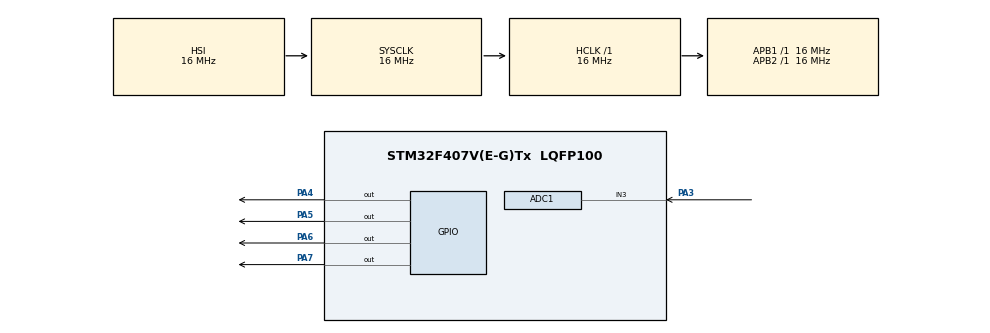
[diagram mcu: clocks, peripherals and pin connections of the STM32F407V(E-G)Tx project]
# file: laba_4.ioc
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ADC1.Channel-0\#ChannelRegularConversion=ADC_CHANNEL_3
ADC1.ClockPrescaler=ADC_CLOCK_SYNC_PCLK_DIV8
ADC1.NbrOfConversionFlag=1
ADC1.SamplingTime-0\#ChannelRegularConversion=ADC_SAMPLETIME_480CYCLES
ADC1.master=1
Mcu.Family=STM32F4
Mcu.Name=STM32F407V(E-G)Tx
Mcu.Package=LQFP100
NVIC.ADC_IRQn=true\:0\:0\:false\:false\:true\:true\:true\:true
NVIC.PriorityGroup=NVIC_PRIORITYGROUP_4
PA3.Signal=ADCx_IN3
PA4.Signal=GPIO_Output
PA5.Signal=GPIO_Output
PA6.Signal=GPIO_Output
PA7.Signal=GPIO_Output
ProjectManager.HeapSize=0x200
ProjectManager.StackSize=0x400
ProjectManager.TargetToolchain=STM32CubeIDE
RCC.AHBFreq_Value=16000000
RCC.APB1Freq_Value=16000000
RCC.APB2Freq_Value=16000000
RCC.CortexFreq_Value=16000000
RCC.HSE_VALUE=25000000
RCC.HSI_VALUE=16000000
RCC.LSE_VALUE=32768
RCC.SYSCLKFreq_VALUE=16000000
RCC.VCOOutputFreq_Value=192000000
SH.ADCx_IN3.0=ADC1_IN3,IN3
board=custom

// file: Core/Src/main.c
/* USER CODE BEGIN Header */
/**
  ******************************************************************************
  * @file           : main.c
  * @brief          : Main program body
  ******************************************************************************
  * @attention
  *
  * Copyright (c) 2023 STMicroelectronics.
  * All rights reserved.
  *
  * This software is licensed under terms that can be found in the LICENSE file
  * in the root directory of this software component.
  * If no LICENSE file comes with this software, it is provided AS-IS.
  *
  ******************************************************************************
  */
/* USER CODE END Header */
#include "main.h"

/* USER CODE BEGIN PD */
ADC_HandleTypeDef hadc1;
/* USER CODE END PD */

ADC_HandleTypeDef hadc1;

void SystemClock_Config(void);
static void MX_GPIO_Init(void);
static void MX_ADC1_Init(void);

/* USER CODE BEGIN 0 */
void HAL_ADC_ConvCpltCallback(ADC_HandleTypeDef* hadc){
    uint32_t adcValue;

    if(hadc->Instance == ADC1){
        adcValue = HAL_ADC_GetValue(&hadc1);

        if(adcValue < 1024){
        	HAL_GPIO_WritePin(GPIOA, GPIO_PIN_4, GPIO_PIN_SET);
        	HAL_GPIO_WritePin(GPIOA, GPIO_PIN_5, GPIO_PIN_RESET);
            HAL_GPIO_WritePin(GPIOA, GPIO_PIN_7, GPIO_PIN_RESET);
            HAL_GPIO_WritePin(GPIOA, GPIO_PIN_6, GPIO_PIN_RESET);
        } else if (adcValue >= 1024 && adcValue < 2048){
        	HAL_GPIO_WritePin(GPIOA, GPIO_PIN_4, GPIO_PIN_RESET);
        	HAL_GPIO_WritePin(GPIOA, GPIO_PIN_5, GPIO_PIN_SET);
            HAL_GPIO_WritePin(GPIOA, GPIO_PIN_7, GPIO_PIN_RESET);
            HAL_GPIO_WritePin(GPIOA, GPIO_PIN_6, GPIO_PIN_RESET);
        } else if (adcValue >= 2048 && adcValue < 3072){
        	HAL_GPIO_WritePin(GPIOA, GPIO_PIN_4, GPIO_PIN_RESET);
        	HAL_GPIO_WritePin(GPIOA, GPIO_PIN_5,  GPIO_PIN_RESET);
            HAL_GPIO_WritePin(GPIOA, GPIO_PIN_7, GPIO_PIN_RESET);
            HAL_GPIO_WritePin(GPIOA, GPIO_PIN_6, GPIO_PIN_SET);
        } else if (adcValue >= 3072 && adcValue < 4096){
        	HAL_GPIO_WritePin(GPIOA, GPIO_PIN_4, GPIO_PIN_RESET);
        	HAL_GPIO_WritePin(GPIOA, GPIO_PIN_5,  GPIO_PIN_RESET);
            HAL_GPIO_WritePin(GPIOA, GPIO_PIN_7, GPIO_PIN_SET);
            HAL_GPIO_WritePin(GPIOA, GPIO_PIN_6, GPIO_PIN_RESET);
        }

        HAL_ADC_Start_IT(&hadc1);
    }
}

/* USER CODE END 0 */

int main(void)
{

  /* MCU Configuration--------------------------------------------------------*/

  /* Reset of all peripherals, Initializes the Flash interface and the Systick. */
  HAL_Init();

  /* Configure the system clock */
  SystemClock_Config();

  /* Initialize all configured peripherals */
  MX_GPIO_Init();
  MX_ADC1_Init();

  /* Infinite loop */
  /* USER CODE BEGIN WHILE */
  HAL_ADC_Start_IT(&hadc1);
  while (1)
  {
    /* USER CODE END WHILE */

  }
}

void SystemClock_Config(void)
{
  RCC_OscInitTypeDef RCC_OscInitStruct = {0};
  RCC_ClkInitTypeDef RCC_ClkInitStruct = {0};

  /** Configure the main internal regulator output voltage
  */
  __HAL_RCC_PWR_CLK_ENABLE();
  __HAL_PWR_VOLTAGESCALING_CONFIG(PWR_REGULATOR_VOLTAGE_SCALE1);

  /** Initializes the RCC Oscillators according to the specified parameters
  * in the RCC_OscInitTypeDef structure.
  */
  RCC_OscInitStruct.OscillatorType = RCC_OSCILLATORTYPE_HSI;
  RCC_OscInitStruct.HSIState = RCC_HSI_ON;
  RCC_OscInitStruct.HSICalibrationValue = RCC_HSICALIBRATION_DEFAULT;
  RCC_OscInitStruct.PLL.PLLState = RCC_PLL_NONE;
  if (HAL_RCC_OscConfig(&RCC_OscInitStruct) != HAL_OK)
  {
    Error_Handler();
  }

  /** Initializes the CPU, AHB and APB buses clocks
  */
  RCC_ClkInitStruct.ClockType = RCC_CLOCKTYPE_HCLK|RCC_CLOCKTYPE_SYSCLK
                              |RCC_CLOCKTYPE_PCLK1|RCC_CLOCKTYPE_PCLK2;
  RCC_ClkInitStruct.SYSCLKSource = RCC_SYSCLKSOURCE_HSI;
  RCC_ClkInitStruct.AHBCLKDivider = RCC_SYSCLK_DIV1;
  RCC_ClkInitStruct.APB1CLKDivider = RCC_HCLK_DIV1;
  RCC_ClkInitStruct.APB2CLKDivider = RCC_HCLK_DIV1;

  if (HAL_RCC_ClockConfig(&RCC_ClkInitStruct, FLASH_LATENCY_0) != HAL_OK)
  {
    Error_Handler();
  }
}

static void MX_ADC1_Init(void)
{

  ADC_ChannelConfTypeDef sConfig = {0};

  /** Configure the global features of the ADC (Clock, Resolution, Data Alignment and number of conversion)
  */
  hadc1.Instance = ADC1;
  hadc1.Init.ClockPrescaler = ADC_CLOCK_SYNC_PCLK_DIV8;
  hadc1.Init.Resolution = ADC_RESOLUTION_12B;
  hadc1.Init.ScanConvMode = DISABLE;
  hadc1.Init.ContinuousConvMode = DISABLE;
  hadc1.Init.DiscontinuousConvMode = DISABLE;
  hadc1.Init.ExternalTrigConvEdge = ADC_EXTERNALTRIGCONVEDGE_NONE;
  hadc1.Init.ExternalTrigConv = ADC_SOFTWARE_START;
  hadc1.Init.DataAlign = ADC_DATAALIGN_RIGHT;
  hadc1.Init.NbrOfConversion = 1;
  hadc1.Init.DMAContinuousRequests = DISABLE;
  hadc1.Init.EOCSelection = ADC_EOC_SINGLE_CONV;
  if (HAL_ADC_Init(&hadc1) != HAL_OK)
  {
    Error_Handler();
  }

  /** Configure for the selected ADC regular channel its corresponding rank in the sequencer and its sample time.
  */
  sConfig.Channel = ADC_CHANNEL_3;
  sConfig.Rank = 1;
  sConfig.SamplingTime = ADC_SAMPLETIME_480CYCLES;
  if (HAL_ADC_ConfigChannel(&hadc1, &sConfig) != HAL_OK)
  {
    Error_Handler();
  }

}

static void MX_GPIO_Init(void)
{
  GPIO_InitTypeDef GPIO_InitStruct = {0};

  /* GPIO Ports Clock Enable */
  __HAL_RCC_GPIOA_CLK_ENABLE();

  /*Configure GPIO pin Output Level */
  HAL_GPIO_WritePin(GPIOA, GPIO_PIN_4|GPIO_PIN_5|GPIO_PIN_6|GPIO_PIN_7, GPIO_PIN_RESET);

  /*Configure GPIO pins : PA4 PA5 PA6 PA7 */
  GPIO_InitStruct.Pin = GPIO_PIN_4|GPIO_PIN_5|GPIO_PIN_6|GPIO_PIN_7;
  GPIO_InitStruct.Mode = GPIO_MODE_OUTPUT_PP;
  GPIO_InitStruct.Pull = GPIO_NOPULL;
  GPIO_InitStruct.Speed = GPIO_SPEED_FREQ_LOW;
  HAL_GPIO_Init(GPIOA, &GPIO_InitStruct);

}

void Error_Handler(void)
{
  __disable_irq();
  while (1)
  {
  }
}
